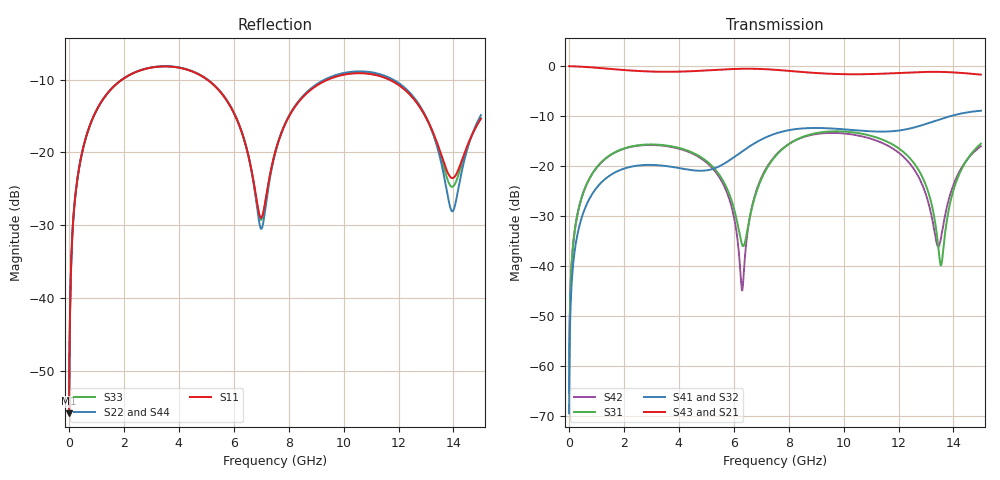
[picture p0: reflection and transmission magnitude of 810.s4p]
! Created with skrf 1.8.0 (http://scikit-rf.org).
# GHz S RI R 50.0
!freq ReS11 ImS11 ReS12 ImS12 ReS13 ImS13
! ReS14 ImS14
! ReS21 ImS21 ReS22 ImS22 ReS23 ImS23
! ReS24 ImS24
! ReS31 ImS31 ReS32 ImS32 ReS33 ImS33
! ReS34 ImS34
! ReS41 ImS41 ReS42 ImS42 ReS43 ImS43
! ReS44 ImS44
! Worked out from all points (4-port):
!   2499 points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, 5 MHz to 15 GHz, reference 50 ohm
!   strongest paths, dB at 5 MHz, 3.476 GHz, 7.19 GHz, 11.1 GHz, 15 GHz:
!     S43: 0.0, -1.1, -0.6, -1.6, -1.7
!     S21: 0.0, -1.1, -0.6, -1.6, -1.7
!     S41: -69.4, -19.9, -14.2, -13.1, -8.9
!     S32: -69.4, -20.0, -14.2, -13.3, -9.0
!     S31: -65.3, -15.8, -20.6, -14.1, -15.5
!     S42: -65.3, -16.0, -20.4, -14.7, -16.0
!   lowest |S11| = -55.9 dB at 5 MHz (marker M1), VSWR 1.00, Z = 50.1 + j0.0974 ohm
!   |S11| at or under -10 dB: start of sweep to 1.93 GHz; 5.036 GHz to 9.423 GHz (4.387 GHz wide, 60.7 % of centre); 11.66 GHz to end of sweep
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0.005  0.00128 0.000972  0.9987 -0.0025  6.44e-05 0.000536  -6.25e-05 -0.000331
       0.9987 -0.0025  0.00128 0.000972  -6.25e-05 -0.000331  6.44e-05 0.000536
       6.44e-05 0.000536  -6.25e-05 -0.000331  0.00128 0.000972  0.9987 -0.0025
       -6.25e-05 -0.000331  6.44e-05 0.000536  0.9987 -0.0025  0.00128 0.000972
0.3626511  0.0199 0.0745  0.9727 -0.1808  0.00968 0.0373  -0.00792 -0.0229
           0.9727 -0.1808  0.0199 0.0745  -0.00791 -0.0229  0.00947 0.0373
           0.00968 0.0373  -0.00791 -0.0229  0.0199 0.0745  0.9727 -0.1808
           -0.00792 -0.0229  0.00947 0.0373  0.9727 -0.1808  0.0199 0.0745
1.875782  0.2507 0.1838  0.5864 -0.7076  0.1288 0.0683  -0.0908 -0.0121
          0.5864 -0.7076  0.252 0.183  -0.0905 -0.0125  0.1258 0.0719
          0.1288 0.0683  -0.0905 -0.0125  0.251 0.1836  0.5865 -0.7076
          -0.0908 -0.0121  0.1258 0.0719  0.5865 -0.7076  0.2518 0.1831
6.302626  0.0704 -0.1162  -0.8661 -0.3666  -0.0148 -0.00714  -0.0476 0.1318
          -0.8661 -0.3666  0.0649 -0.1204  -0.0532 0.1295  -0.00545 -0.00168
          -0.0148 -0.00714  -0.0532 0.1295  0.0689 -0.1166  -0.8661 -0.3667
          -0.0476 0.1318  -0.00545 -0.00168  -0.8661 -0.3667  0.0661 -0.1196
6.965402  0.0352 -0.0076  -0.9335 -0.0754  -0.00121 0.0698  -0.00661 0.1819
          -0.9335 -0.0754  0.0293 -0.00884  -0.0139 0.1816  0.00435 0.0721
          -0.00121 0.0698  -0.0139 0.1816  0.034 -0.00699  -0.9335 -0.0755
          -0.00661 0.1819  0.00435 0.0721  -0.9335 -0.0755  0.0305 -0.00904
13.54314  0.0764 -0.0616  0.8102 0.3307  -0.0101 0.00138  0.0907 -0.2815
          0.8102 0.3307  0.0505 -0.0707  0.1162 -0.2719  -0.016 0.0101
          -0.0101 0.00138  0.1162 -0.2719  0.0675 -0.0635  0.8103 0.3312
          0.0907 -0.2815  -0.016 0.0101  0.8103 0.3312  0.0585 -0.0666
15  0.1349 0.1045  0.7883 -0.2327  0.1351 0.0994  -0.1528 -0.3237
    0.7883 -0.2327  0.1243 0.1305  -0.1242 -0.3342  0.0992 0.123
    0.1351 0.0994  -0.1242 -0.3342  0.1323 0.1106  0.7887 -0.2318
    -0.1528 -0.3237  0.0992 0.123  0.7887 -0.2318  0.1278 0.1245
